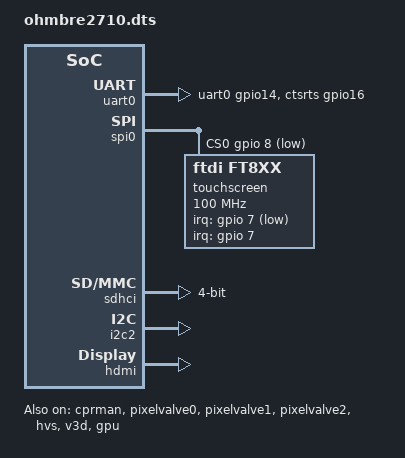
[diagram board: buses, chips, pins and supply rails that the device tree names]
#define RPI364

#include "../../../../arm/boot/dts/bcm2710-rpi-cm3.dts"

#include <dt-bindings/interrupt-controller/irq.h>
#include <dt-bindings/clock/bcm2835.h>

#define ALT(x) BCM2835_FSEL_ALT ## x
#define DIR(x) BCM2835_FSEL_GPIO_ ## x                   
#define PULL(x) BCM2835_PUD_ ## x

/ {
	chosen {
    		bootargs = "cma=128M";
	};

	leds {
		status = "disabled";
	};
};

&gpio {

	spi0_pins: spi0_pins {
		brcm,pins = <9 10 11>;
		brcm,function = <ALT(0)>;
	};

	spi0_cs_pins: spi0_cs_pins {
		brcm,pins = <8>;
		brcm,function = <DIR(OUT)>;
	};
	
	tft_pins: tft_pins {
		brcm,pins = <7>;
		brcm,function = <DIR(IN)>;
		brcm,pull = <PULL(UP)>;
	};
	
	sdio_pins: sdio_pins {
		brcm,pins = <22 23 24 25 26 27>;
		brcm,function = <ALT(3)>;
		brcm,pull = <PULL(OFF) PULL(UP) PULL(UP) PULL(UP) PULL(UP) PULL(UP)>;
	};
	
	sdio_vss2: sdio_vss2 {
		brcm,pins = <33>;
		brcm,function = <DIR(IN)>;
		brcm,pull = <PULL(DOWN)>;
	};
	
};

&uart0 {
	pinctrl-0 = <&uart0_gpio14 &uart0_ctsrts_gpio16>;
	status = "okay";
};

&uart1 {
	status = "disabled";
};

&spi0 { // TODO: just &spi if using bcm2835
	
	pinctrl-names = "default";
	pinctrl-0 = <&spi0_pins &spi0_cs_pins>;
	cs-gpios = <&gpio 8 GPIO_ACTIVE_LOW>;
	dmas = <&dma 6>, <&dma 7>;
	dma-names = "tx", "rx";
	status = "okay";
	
	/delete-node/ spidev@0;
	/delete-node/ spidev@1;
	
	touchscreen: tinyft8@0{
		compatible = "ftdi,ft8xx";
		reg = <0>;
		pinctrl-names = "default";
		pinctrl-0 = <&tft_pins>;
		spi-max-frequency = <100000000>;
		interrupt-parent = <&gpio>;
		interrupts = <7 IRQ_TYPE_EDGE_FALLING>;
		irq-gpios = <&gpio 7 GPIO_ACTIVE_LOW>;
		touchscreen-size-x = <320>;
		touchscreen-size-y = <240>;
		status = "okay";
	};

};

&sdhci {
	compatible = "brcm,bcm2835-sdhci";
	reg = <0x7e300000 0x100>;
	interrupts = <2 30>;
	clocks = <&clocks BCM2835_CLOCK_EMMC>;
	compatible = "brcm,bcm2835-sdhci";
	pinctrl-names = "default";
	pinctrl-0 = <&sdio_pins &sdio_vss2>;
	bus-width = <0x4>;
	status = "okay";
	removable;
};

&pwm {
	status = "disabled";
};


// ----- from vc4-kms-v3d-overlay.dts -----

&i2c2 {
	status = "okay";
};


&cprman {
	status = "okay";
};

&fb {
	status = "disabled";
};

&pixelvalve0 {
	interrupts = <2 13>; /* pwa0 */
	status = "okay";
};

&pixelvalve1 {
	interrupts = <2 14>; /* pwa1 */
	status = "okay";
};

&pixelvalve2 {
	interrupts = <2 10>; /* pixelvalve */
	status = "okay";
};

&hvs {
	interrupts = <2 1>;
	status = "okay";
};

&hdmi {
	interrupts = <2 8>, <2 9>;
	status = "okay";
};

&v3d {
	interrupts = <1 10>;
	status = "okay";
};

&gpu {
	status = "okay";
};

&dma {
	brcm,dma-channel-mask = <0x7f35>;
};

&clocks {
	claim-clocks = <
                BCM2835_PLLD_DSI0
                BCM2835_PLLD_DSI1
                BCM2835_PLLH_AUX
                BCM2835_PLLH_PIX
        >;
};

